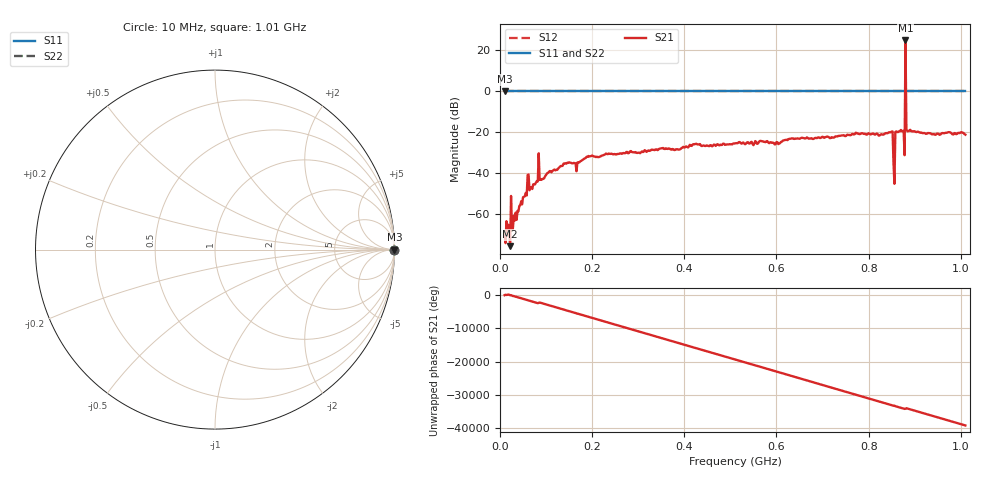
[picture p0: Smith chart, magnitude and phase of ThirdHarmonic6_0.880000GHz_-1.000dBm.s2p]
! 8/16/2025 4:59:52 AM
! C:\ANRITSUVNA\TEMP\TEMP.S2P
! CHANNEL.1
! TR.MEASUREMENT
! RAW.DATA
! RF.CORRECTION.OFF
! AVERAGING.OFF
! IF.BANDWIDTH: 5KHZ
! SWEEPTYPE:  FREQ.SWEEP(Linear)
! Reference Plane Port Info
! PORT:  PORT1  PORT2
! DISTANCE:  0  m  0  m
! TIME:  0  s  0  s
! PHASE.OFFSET:  0  deg.  0  deg.
! LOSS:  0  dB  0  dB
! REF.LOSS:  0  dB  0  dB
! REF.FREQ:  0  Hz  0  Hz
! Power Info
! POWER:  -20  dBm  -20  dBm
! EFF.POWER:  -20  dBm  -20  dBm
! SOURCE.ATTEN:  0  dB  0  dB
! TEST.ATTEN:  0  dB  0  dB
# GHZ S RI R 50.0
! FREQ.GHZ  S11RE  S11IM  S21RE  S21IM  S12RE  S12IM  S22RE  S22IM
!; PortSelection: Port_12
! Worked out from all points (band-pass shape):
!   501 points, 10 MHz to 1.01 GHz, reference 50 ohm
!   highest |S21| = 24.85 dB at 880 MHz (marker M1); lowest = -75.6 dB at 22 MHz (marker M2)
!   |S21| within 3 dB of the highest: 879.8928 MHz to 880.1375 MHz (244.7 kHz wide, 0.0278 % of centre)
!   lowest |S11| = 0.0 dB at 10 MHz (marker M3)
!   |S11| at or under -10 dB: nowhere
!   |S22| runs from 0.0 to 0.0 dB; largest |S21 - S12| = 18
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0.01  1 0  0.000347 -3.14e-05  1 0  1 0
0.022  1 0  0.00016 -4.61e-05  1 0  1 0
0.064  1 0  -0.00309 0.00231  1 0  1 0
0.068  1 0  0.00379 -0.00243  1 0  1 0
0.084  1 0  -0.0271 -0.0147  1 0  1 0
0.09  1 0  -0.00613 0.00323  1 0  1 0
0.142  1 0  -0.0165 -0.00616  1 0  1 0
0.178  1 0  -0.0203 -0.00454  1 0  1 0
0.344  1 0  0.0358 -0.0136  1 0  1 0
0.51  1 0  -0.041 0.0345  1 0  1 0
0.678  1 0  -0.056 -0.0404  1 0  1 0
0.844  1 0  0.1 0.00617  1 0  1 0
0.848  1 0  -0.0938 -0.0364  1 0  1 0
0.852  1 0  0.0816 0.0663  1 0  1 0
0.858  1 0  -0.0916 0.0443  1 0  1 0
0.862  1 0  0.1007 -0.0147  1 0  1 0
0.874  1 0  -0.0695 -0.0819  1 0  1 0
0.876  1 0  -0.0933 0.0561  1 0  1 0
0.88  1 0  -4.968 16.75  1 0  1 0
0.884  1 0  -0.1072 0.00171  1 0  1 0
0.886  1 0  -0.0174 0.1059  1 0  1 0
1.01  1 0  -0.061 0.0629  1 0  1 0
